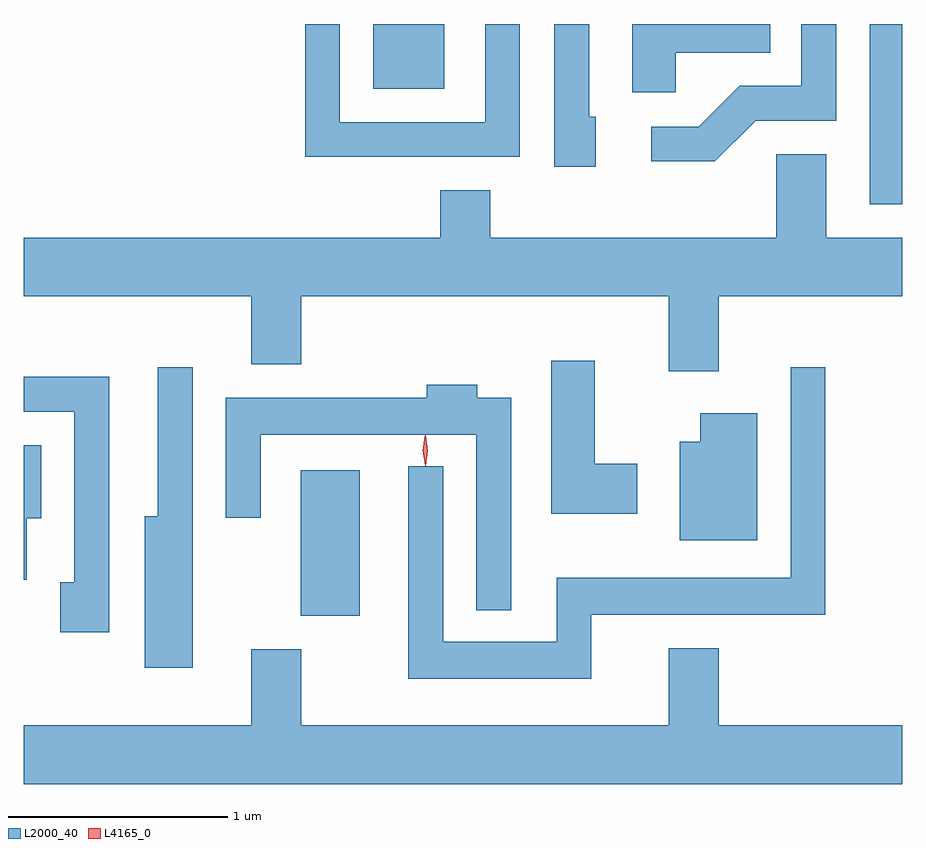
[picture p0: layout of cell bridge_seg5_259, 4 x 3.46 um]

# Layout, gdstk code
import gdstk
lib = gdstk.Library(unit=1e-6, precision=1e-09)
def R(c, l, rs):  # rectangles x0, y0, x1, y1
    for r in rs: c.add(gdstk.rectangle(r[:2], r[2:], *l))
def P(c, l, *ps):  # polygons
    for p in ps: c.add(gdstk.Polygon(p, *l))
L2000_40 = (2000, 40)
L4165_0 = (4165, 0)

bridge_seg5_259 = lib.new_cell('bridge_seg5_259')
R(bridge_seg5_259, L2000_40, [(663.336,1515.281,663.604,1515.944), (665.926,1517.156,666.075,1517.976), (663.666,1517.681,663.989,1517.976)])
P(bridge_seg5_259, L2000_40, [(665.044,1517.846),(665.473,1517.846),(665.473,1517.976),(664.846,1517.976),(664.846,1517.666),(665.044,1517.666)],
  [(664.679,1517.554),(664.649,1517.554),(664.649,1517.976),(664.491,1517.976),(664.491,1517.326),(664.679,1517.326)],
  [(664.334,1517.976),(664.176,1517.976),(664.176,1517.529),(663.514,1517.529),(663.514,1517.976),(663.356,1517.976),(663.356,1517.371),(664.334,1517.371)],
  [(665.407,1517.536),(665.774,1517.536),(665.774,1517.976),(665.616,1517.976),(665.616,1517.694),(665.334,1517.694),(665.149,1517.509),(664.933,1517.509),(664.933,1517.351),(665.222,1517.351)],
  [(665.239,1516.736),(666.075,1516.736),(666.075,1517.004),(665.729,1517.004),(665.729,1517.384),(665.501,1517.384),(665.501,1517.004),(664.199,1517.004),(664.199,1517.219),(663.971,1517.219),(663.971,1517.004),(662.075,1517.004),(662.075,1516.736),(663.111,1516.736),(663.111,1516.426),(663.339,1516.426),(663.339,1516.736),(665.011,1516.736),(665.011,1516.396),(665.239,1516.396)],
  [(664.869,1515.974),(664.674,1515.974),(664.674,1516.444),(664.476,1516.444),(664.476,1515.746),(664.869,1515.746)],
  [(664.659,1515.286),(665.724,1515.286),(665.724,1516.413),(665.566,1516.413),(665.566,1515.454),(664.501,1515.454),(664.501,1515.164),(663.984,1515.164),(663.984,1515.963),(663.826,1515.963),(663.826,1514.996),(664.659,1514.996)],
  [(662.844,1516.413),(662.686,1516.413),(662.686,1515.734),(662.626,1515.734),(662.626,1515.046),(662.844,1515.046)],
  [(662.464,1516.369),(662.075,1516.369),(662.075,1516.211),(662.306,1516.211),(662.306,1515.434),(662.241,1515.434),(662.241,1515.206),(662.464,1515.206)],
  [(664.294,1516.274),(664.139,1516.274),(664.139,1516.334),(663.911,1516.334),(663.911,1516.274),(662.996,1516.274),(662.996,1515.728),(663.154,1515.728),(663.154,1516.106),(664.136,1516.106),(664.136,1515.308),(664.294,1515.308)],
  [(665.414,1516.204),(665.156,1516.204),(665.156,1516.074),(665.061,1516.074),(665.061,1515.626),(665.414,1515.626)],
  [(662.089,1515.726),(662.154,1515.726),(662.154,1516.059),(662.075,1516.059),(662.075,1515.446),(662.089,1515.446)],
  [(666.075,1514.784),(665.239,1514.784),(665.239,1515.134),(665.011,1515.134),(665.011,1514.784),(663.339,1514.784),(663.339,1515.129),(663.111,1515.129),(663.111,1514.784),(662.075,1514.784),(662.075,1514.516),(666.075,1514.516)])
P(bridge_seg5_259, L4165_0, [(663.904,1515.964),(663.895,1516.033),(663.904,1516.102),(663.905,1516.103),(663.905,1516.102),(663.915,1516.033),(663.905,1515.964),(663.905,1515.964)],
  [(663.902,1515.967),(663.902,1515.967),(663.892,1516.034),(663.901,1516.1),(663.902,1516.1),(663.902,1516.1),(663.912,1516.034),(663.902,1515.967)])

lib.write_gds('bridge_seg5_259.gds')
